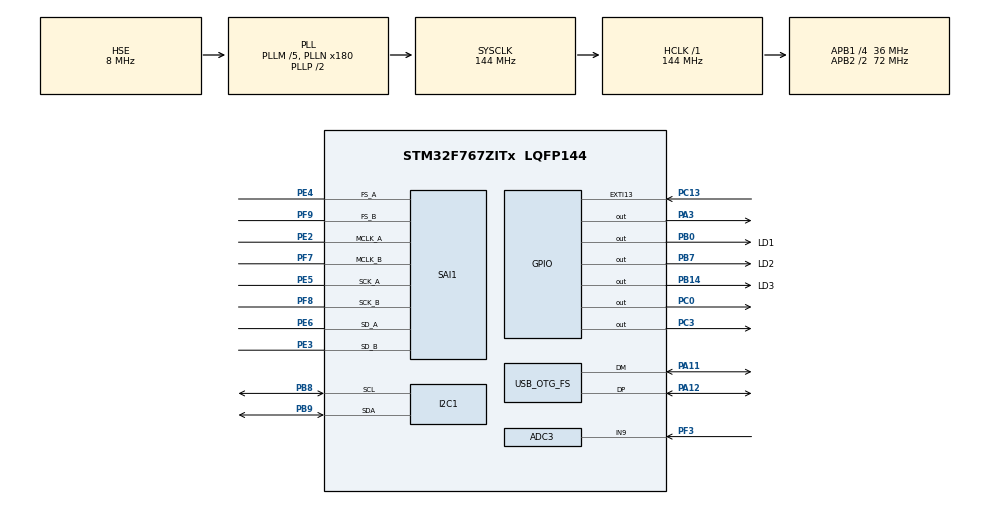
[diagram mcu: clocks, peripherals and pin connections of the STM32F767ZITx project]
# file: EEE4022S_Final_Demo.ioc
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ADC3.Channel-0\#ChannelRegularConversion=ADC_CHANNEL_9
ADC3.ExternalTrigConv=ADC_EXTERNALTRIGCONV_T2_TRGO
ADC3.InjNumberOfConversion=0
ADC3.NbrOfConversionFlag=1
ADC3.Rank-0\#ChannelRegularConversion=1
ADC3.SamplingTime-0\#ChannelRegularConversion=ADC_SAMPLETIME_3CYCLES
CORTEX_M7.default_mode_Activation=1
Dma.ADC3.2.Direction=DMA_PERIPH_TO_MEMORY
Dma.ADC3.2.FIFOMode=DMA_FIFOMODE_DISABLE
Dma.ADC3.2.Instance=DMA2_Stream0
Dma.ADC3.2.MemDataAlignment=DMA_MDATAALIGN_HALFWORD
Dma.ADC3.2.MemInc=DMA_MINC_ENABLE
Dma.ADC3.2.Mode=DMA_NORMAL
Dma.ADC3.2.PeriphDataAlignment=DMA_PDATAALIGN_HALFWORD
Dma.ADC3.2.PeriphInc=DMA_PINC_DISABLE
Dma.ADC3.2.Priority=DMA_PRIORITY_LOW
Dma.Request0=SAI1_A
Dma.Request1=SAI1_B
Dma.Request2=ADC3
Dma.SAI1_A.0.Direction=DMA_PERIPH_TO_MEMORY
Dma.SAI1_A.0.FIFOMode=DMA_FIFOMODE_DISABLE
Dma.SAI1_A.0.Instance=DMA2_Stream1
Dma.SAI1_A.0.MemDataAlignment=DMA_MDATAALIGN_WORD
Dma.SAI1_A.0.MemInc=DMA_MINC_ENABLE
Dma.SAI1_A.0.Mode=DMA_CIRCULAR
Dma.SAI1_A.0.PeriphDataAlignment=DMA_PDATAALIGN_WORD
Dma.SAI1_A.0.PeriphInc=DMA_PINC_DISABLE
Dma.SAI1_A.0.Priority=DMA_PRIORITY_LOW
Dma.SAI1_B.1.Direction=DMA_PERIPH_TO_MEMORY
Dma.SAI1_B.1.FIFOMode=DMA_FIFOMODE_DISABLE
Dma.SAI1_B.1.Instance=DMA2_Stream4
Dma.SAI1_B.1.MemDataAlignment=DMA_MDATAALIGN_WORD
Dma.SAI1_B.1.MemInc=DMA_MINC_ENABLE
Dma.SAI1_B.1.Mode=DMA_CIRCULAR
Dma.SAI1_B.1.PeriphDataAlignment=DMA_PDATAALIGN_WORD
Dma.SAI1_B.1.PeriphInc=DMA_PINC_DISABLE
Dma.SAI1_B.1.Priority=DMA_PRIORITY_LOW
I2C1.Timing=0x00808CD2
Mcu.Family=STM32F7
Mcu.Name=STM32F767ZITx
Mcu.Package=LQFP144
NVIC.ADC_IRQn=true\:0\:0\:false\:false\:true\:true\:true\:true
NVIC.DMA2_Stream0_IRQn=true\:0\:0\:false\:false\:true\:false\:true\:true
NVIC.DMA2_Stream1_IRQn=true\:0\:0\:false\:false\:true\:false\:true\:true
NVIC.DMA2_Stream4_IRQn=true\:0\:0\:false\:false\:true\:false\:true\:true
NVIC.EXTI15_10_IRQn=true\:1\:0\:true\:false\:true\:true\:true\:true
NVIC.OTG_FS_IRQn=true\:2\:0\:true\:false\:true\:false\:true\:true
NVIC.PriorityGroup=NVIC_PRIORITYGROUP_4
PA11.Mode=Device_Only
PA11.Signal=USB_OTG_FS_DM
PA12.Mode=Device_Only
PA12.Signal=USB_OTG_FS_DP
PA3.Signal=GPIO_Output
PB0.GPIO_Label=LD1
PB0.Signal=GPIO_Output
PB14.GPIO_Label=LD3
PB14.Signal=GPIO_Output
PB7.GPIO_Label=LD2
PB7.Signal=GPIO_Output
PB8.Mode=I2C
PB8.Signal=I2C1_SCL
PB9.Mode=I2C
PB9.Signal=I2C1_SDA
PC0.Signal=GPIO_Output
PC13.Signal=GPXTI13
PC14/OSC32_IN.Mode=LSE-External-Oscillator
PC14/OSC32_IN.Signal=RCC_OSC32_IN
PC15/OSC32_OUT.Mode=LSE-External-Oscillator
PC15/OSC32_OUT.Signal=RCC_OSC32_OUT
PC3.Signal=GPIO_Output
PE2.Mode=SAI_A_MasterWithClock
PE2.Signal=SAI1_MCLK_A
PE3.Mode=SAI_B_MasterWithClock
PE3.Signal=SAI1_SD_B
PE4.Mode=SAI_A_MasterWithClock
PE4.Signal=SAI1_FS_A
PE5.Mode=SAI_A_MasterWithClock
PE5.Signal=SAI1_SCK_A
PE6.Mode=SAI_A_MasterWithClock
PE6.Signal=SAI1_SD_A
PF3.Mode=IN9
PF3.Signal=ADC3_IN9
PF7.Mode=SAI_B_MasterWithClock
PF7.Signal=SAI1_MCLK_B
PF8.Mode=SAI_B_MasterWithClock
PF8.Signal=SAI1_SCK_B
PF9.Mode=SAI_B_MasterWithClock
PF9.Signal=SAI1_FS_B
PH0/OSC_IN.Mode=HSE-External-Clock-Source
PH0/OSC_IN.Signal=RCC_OSC_IN
PH1/OSC_OUT.Mode=HSE-External-Clock-Source
PH1/OSC_OUT.Signal=RCC_OSC_OUT
ProjectManager.HeapSize=0x4000
ProjectManager.StackSize=0x2000
ProjectManager.TargetToolchain=STM32CubeIDE
RCC.AHBFreq_Value=144000000
RCC.APB1CLKDivider=RCC_HCLK_DIV4
RCC.APB1Freq_Value=36000000
RCC.APB1TimFreq_Value=72000000
RCC.APB2CLKDivider=RCC_HCLK_DIV2
RCC.APB2Freq_Value=72000000
RCC.APB2TimFreq_Value=144000000
RCC.CortexFreq_Value=144000000
RCC.HCLKFreq_Value=144000000
RCC.HSE_VALUE=8000000
RCC.HSI_VALUE=16000000
RCC.PLLM=5
RCC.PLLN=180
RCC.PLLQ=6
RCC.PLLSAIQ=5
RCC.PLLSAIQDiv=5
RCC.SYSCLKFreq_VALUE=144000000
RCC.SYSCLKSource=RCC_SYSCLKSOURCE_PLLCLK
RCC.USBFreq_Value=48000000
RCC.VCOOutputFreq_Value=288000000
SAI1.AudioFrequency-SAI_A_MasterWithClock=SAI_AUDIO_FREQUENCY_48K
SAI1.AudioFrequency-SAI_B_MasterWithClock=SAI_AUDIO_FREQUENCY_48K
SAI1.AudioMode-SAI_A_MasterWithClock=SAI_MODEMASTER_RX
SAI1.AudioMode-SAI_B_MasterWithClock=SAI_MODEMASTER_RX
SAI1.BasicDataSize-SAI_B_MasterWithClock=SAI_PROTOCOL_DATASIZE_24BIT
SAI1.ClockStrobing-SAI_A_MasterWithClock=SAI_CLOCKSTROBING_RISINGEDGE
SAI1.DataSize-SAI_A_MasterWithClock=SAI_DATASIZE_24
SAI1.ErrorAudioFreq-SAI_A_MasterWithClock=0.0 %
SAI1.ErrorAudioFreq-SAI_B_MasterWithClock=0.0 %
SAI1.FSOffset-SAI_A_MasterWithClock=SAI_FS_BEFOREFIRSTBIT
SAI1.FrameLength-SAI_A_MasterWithClock=128
SAI1.InitProtocol-SAI_B_MasterWithClock=Enable
SAI1.Instance-SAI_A_MasterWithClock=SAI$Index_Block_A
SAI1.Instance-SAI_B_MasterWithClock=SAI$Index_Block_B
SAI1.MClockEnable-SAI_A_MasterWithClock=SAI_MASTERCLOCK_ENABLE
SAI1.MClockEnable-SAI_B_MasterWithClock=SAI_MASTERCLOCK_ENABLE
SAI1.RealAudioFreq-SAI_A_MasterWithClock=48.0 KHz
SAI1.RealAudioFreq-SAI_B_MasterWithClock=48.0 KHz
SAI1.SlotActive-SAI_A_MasterWithClock=0x0000000F
SAI1.SlotNumber-SAI_A_MasterWithClock=4
SAI1.SlotSize-SAI_A_MasterWithClock=SAI_SLOTSIZE_32B
SAI1.VirtualMode-SAI_A_MasterWithClock=VM_MASTER
SAI1.VirtualMode-SAI_B_MasterWithClock=VM_MASTER
SAI1.VirtualProtocol-SAI_B_BASIC=VM_BASIC_PROTOCOL
SAI1.VirtualSlotActive-SAI_A_MasterWithClock=SAI_SLOT_USERSETTING
SAI1.VirtualSlotActive0-SAI_A_MasterWithClock=true
SAI1.VirtualSlotActive1-SAI_A_MasterWithClock=true
SAI1.VirtualSlotActive2-SAI_A_MasterWithClock=true
SAI1.VirtualSlotActive3-SAI_A_MasterWithClock=true
TIM2.Period=1499
TIM2.TIM_MasterOutputTrigger=TIM_TRGO_UPDATE
TIM2.TIM_MasterSlaveMode=TIM_MASTERSLAVEMODE_ENABLE
USB_DEVICE.CLASS_NAME_FS=CDC
USB_DEVICE.VirtualMode-CDC_FS=Cdc
USB_DEVICE.VirtualModeFS=Cdc_FS
USB_OTG_FS.VirtualMode=Device_Only
VP_SAI1_VP_$IpInstance_SAIB_SAI_BASIC.Mode=SAI_B_BASIC
VP_TIM2_VS_ClockSourceINT.Mode=Internal
VP_USB_DEVICE_VS_USB_DEVICE_CDC_FS.Mode=CDC_FS
board=custom

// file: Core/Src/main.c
/* USER CODE BEGIN Header */
/**
  ******************************************************************************
  * @file           : main.c
  * @brief          : Main program body
  ******************************************************************************
  * @attention
  *
  * Copyright (c) 2024 STMicroelectronics.
  * All rights reserved.
  *
  * This software is licensed under terms that can be found in the LICENSE file
  * in the root directory of this software component.
  * If no LICENSE file comes with this software, it is provided AS-IS.
  *
  ******************************************************************************
  */
/* USER CODE END Header */
#include "main.h"
#include "usb_device.h"

/* USER CODE BEGIN Includes */
#include "string.h"
#include "ADAU1978.h"
#include "usbd_cdc_if.h"
/* USER CODE END Includes */

/* USER CODE BEGIN PD */
#define SAMPLE_SIZE      2048
/* USER CODE END PD */

ADC_HandleTypeDef hadc3;
DMA_HandleTypeDef hdma_adc3;

I2C_HandleTypeDef hi2c1;

SAI_HandleTypeDef hsai_BlockA1;
SAI_HandleTypeDef hsai_BlockB1;
DMA_HandleTypeDef hdma_sai1_a;
DMA_HandleTypeDef hdma_sai1_b;

TIM_HandleTypeDef htim2;

/* USER CODE BEGIN PV */
ActiveADC_t adcx;
ADAU1978_t xHandle;
uint8_t start_tx;
uint8_t* pTxBuffer;
HAL_StatusTypeDef xStatus;

char* builtin = "ADC";
char* stereo   = "I2S";
char* tdm      = "TDM";
uint8_t adc_buffer[SAMPLE_SIZE*16];

/* USER CODE END PV */

void SystemClock_Config(void);
void PeriphCommonClock_Config(void);
static void MPU_Config(void);
static void MX_GPIO_Init(void);
static void MX_DMA_Init(void);
static void MX_I2C1_Init(void);
static void MX_SAI1_Init(void);
static void MX_ADC3_Init(void);
static void MX_TIM2_Init(void);
/* USER CODE BEGIN PFP */
void USB_RxCpltCallback(uint8_t* Buf, uint32_t *Len);
void USB_TxCpltCallback(uint8_t *Buf, uint32_t *Len);
void TDM4Init();
/* USER CODE END PFP */

/* USER CODE BEGIN 0 */
void TDM4Init(){
	// Enable all ADCs
	xHandle.block_power_sai = ADC_ENALL;
	// TDM4 Left Justified
	xHandle.sai_ctrl0 = SAI_CTRL0_TDM4|SAI_CTRL0_SDATA_FMT_LJ;
	// 24-bit data on 32 bit SLOT, LRCK pulse
	xHandle.sai_ctrl1  = SAI_CTRL1_DW_24_BITS | SAI_CTRL1_SW_32_BCKS| SAI_CTRL1_LR_MODE_PULSE;
	// enable HPF for all
	xHandle.dc_hpf_cal = DC_HPF_ALL;
	// Enable output for all
	xHandle.sai_overtemp = SAI_DRV_ALL;
	xHandle.gain_db = 40.125;
}
/* USER CODE END 0 */

int main(void)
{

  /* USER CODE BEGIN 1 */
	pTxBuffer = &adc_buffer[0];
	adcx = NONE;
	start_tx = 0;
	Audio_ADC_StructInit(&xHandle);
	TDM4Init();
  /* USER CODE END 1 */

  /* MPU Configuration--------------------------------------------------------*/
  MPU_Config();

  /* MCU Configuration--------------------------------------------------------*/

  /* Reset of all peripherals, Initializes the Flash interface and the Systick. */
  HAL_Init();

  /* Configure the system clock */
  SystemClock_Config();

  /* Configure the peripherals common clocks */
  PeriphCommonClock_Config();

  /* Initialize all configured peripherals */
  MX_GPIO_Init();
  MX_DMA_Init();
  MX_I2C1_Init();
  MX_SAI1_Init();
  MX_USB_DEVICE_Init();
  MX_ADC3_Init();
  MX_TIM2_Init();
  /* USER CODE BEGIN 2 */
    xStatus = Audio_ADC_Calibrate();
    if (xStatus != HAL_OK){
  	  //Error_Handler();
    }
    xStatus = Audio_ADC_Init(&xHandle);
    if (xStatus != HAL_OK){
  	  Error_Handler();
    }
  /* USER CODE END 2 */

  /* Infinite loop */
  while (1)
  {

    /* USER CODE BEGIN 3 */
	  HAL_Delay(100);
  }
  /* USER CODE END 3 */
}

void SystemClock_Config(void)
{
  RCC_OscInitTypeDef RCC_OscInitStruct = {0};
  RCC_ClkInitTypeDef RCC_ClkInitStruct = {0};

  /** Configure LSE Drive Capability
  */
  HAL_PWR_EnableBkUpAccess();

  /** Configure the main internal regulator output voltage
  */
  __HAL_RCC_PWR_CLK_ENABLE();
  __HAL_PWR_VOLTAGESCALING_CONFIG(PWR_REGULATOR_VOLTAGE_SCALE3);

  /** Initializes the RCC Oscillators according to the specified parameters
  * in the RCC_OscInitTypeDef structure.
  */
  RCC_OscInitStruct.OscillatorType = RCC_OSCILLATORTYPE_HSE;
  RCC_OscInitStruct.HSEState = RCC_HSE_BYPASS;
  RCC_OscInitStruct.PLL.PLLState = RCC_PLL_ON;
  RCC_OscInitStruct.PLL.PLLSource = RCC_PLLSOURCE_HSE;
  RCC_OscInitStruct.PLL.PLLM = 5;
  RCC_OscInitStruct.PLL.PLLN = 180;
  RCC_OscInitStruct.PLL.PLLP = RCC_PLLP_DIV2;
  RCC_OscInitStruct.PLL.PLLQ = 6;
  RCC_OscInitStruct.PLL.PLLR = 2;
  if (HAL_RCC_OscConfig(&RCC_OscInitStruct) != HAL_OK)
  {
    Error_Handler();
  }

  /** Initializes the CPU, AHB and APB buses clocks
  */
  RCC_ClkInitStruct.ClockType = RCC_CLOCKTYPE_HCLK|RCC_CLOCKTYPE_SYSCLK
                              |RCC_CLOCKTYPE_PCLK1|RCC_CLOCKTYPE_PCLK2;
  RCC_ClkInitStruct.SYSCLKSource = RCC_SYSCLKSOURCE_PLLCLK;
  RCC_ClkInitStruct.AHBCLKDivider = RCC_SYSCLK_DIV1;
  RCC_ClkInitStruct.APB1CLKDivider = RCC_HCLK_DIV4;
  RCC_ClkInitStruct.APB2CLKDivider = RCC_HCLK_DIV2;

  if (HAL_RCC_ClockConfig(&RCC_ClkInitStruct, FLASH_LATENCY_4) != HAL_OK)
  {
    Error_Handler();
  }
}

void PeriphCommonClock_Config(void)
{
  RCC_PeriphCLKInitTypeDef PeriphClkInitStruct = {0};

  /** Initializes the peripherals clock
  */
  PeriphClkInitStruct.PeriphClockSelection = RCC_PERIPHCLK_SAI1|RCC_PERIPHCLK_CLK48;
  PeriphClkInitStruct.PLLSAI.PLLSAIN = 192;
  PeriphClkInitStruct.PLLSAI.PLLSAIR = 2;
  PeriphClkInitStruct.PLLSAI.PLLSAIQ = 5;
  PeriphClkInitStruct.PLLSAI.PLLSAIP = RCC_PLLSAIP_DIV2;
  PeriphClkInitStruct.PLLSAIDivQ = 5;
  PeriphClkInitStruct.PLLSAIDivR = RCC_PLLSAIDIVR_2;
  PeriphClkInitStruct.Sai1ClockSelection = RCC_SAI1CLKSOURCE_PLLSAI;
  if (HAL_RCCEx_PeriphCLKConfig(&PeriphClkInitStruct) != HAL_OK)
  {
    Error_Handler();
  }
}

static void MX_ADC3_Init(void)
{

  ADC_ChannelConfTypeDef sConfig = {0};

  /** Configure the global features of the ADC (Clock, Resolution, Data Alignment and number of conversion)
  */
  hadc3.Instance = ADC3;
  hadc3.Init.ClockPrescaler = ADC_CLOCK_SYNC_PCLK_DIV2;
  hadc3.Init.Resolution = ADC_RESOLUTION_12B;
  hadc3.Init.ScanConvMode = ADC_SCAN_DISABLE;
  hadc3.Init.ContinuousConvMode = DISABLE;
  hadc3.Init.DiscontinuousConvMode = DISABLE;
  hadc3.Init.ExternalTrigConvEdge = ADC_EXTERNALTRIGCONVEDGE_RISING;
  hadc3.Init.ExternalTrigConv = ADC_EXTERNALTRIGCONV_T2_TRGO;
  hadc3.Init.DataAlign = ADC_DATAALIGN_RIGHT;
  hadc3.Init.NbrOfConversion = 1;
  hadc3.Init.DMAContinuousRequests = DISABLE;
  hadc3.Init.EOCSelection = ADC_EOC_SINGLE_CONV;
  if (HAL_ADC_Init(&hadc3) != HAL_OK)
  {
    Error_Handler();
  }

  /** Configure for the selected ADC regular channel its corresponding rank in the sequencer and its sample time.
  */
  sConfig.Channel = ADC_CHANNEL_9;
  sConfig.Rank = ADC_REGULAR_RANK_1;
  sConfig.SamplingTime = ADC_SAMPLETIME_3CYCLES;
  if (HAL_ADC_ConfigChannel(&hadc3, &sConfig) != HAL_OK)
  {
    Error_Handler();
  }

}

static void MX_I2C1_Init(void)
{

  hi2c1.Instance = I2C1;
  hi2c1.Init.Timing = 0x00808CD2;
  hi2c1.Init.OwnAddress1 = 0;
  hi2c1.Init.AddressingMode = I2C_ADDRESSINGMODE_7BIT;
  hi2c1.Init.DualAddressMode = I2C_DUALADDRESS_DISABLE;
  hi2c1.Init.OwnAddress2 = 0;
  hi2c1.Init.OwnAddress2Masks = I2C_OA2_NOMASK;
  hi2c1.Init.GeneralCallMode = I2C_GENERALCALL_DISABLE;
  hi2c1.Init.NoStretchMode = I2C_NOSTRETCH_DISABLE;
  if (HAL_I2C_Init(&hi2c1) != HAL_OK)
  {
    Error_Handler();
  }

  /** Configure Analogue filter
  */
  if (HAL_I2CEx_ConfigAnalogFilter(&hi2c1, I2C_ANALOGFILTER_ENABLE) != HAL_OK)
  {
    Error_Handler();
  }

  /** Configure Digital filter
  */
  if (HAL_I2CEx_ConfigDigitalFilter(&hi2c1, 0) != HAL_OK)
  {
    Error_Handler();
  }

}

static void MX_SAI1_Init(void)
{

  hsai_BlockA1.Instance = SAI1_Block_A;
  hsai_BlockA1.Init.Protocol = SAI_FREE_PROTOCOL;
  hsai_BlockA1.Init.AudioMode = SAI_MODEMASTER_RX;
  hsai_BlockA1.Init.DataSize = SAI_DATASIZE_24;
  hsai_BlockA1.Init.FirstBit = SAI_FIRSTBIT_MSB;
  hsai_BlockA1.Init.ClockStrobing = SAI_CLOCKSTROBING_RISINGEDGE;
  hsai_BlockA1.Init.Synchro = SAI_ASYNCHRONOUS;
  hsai_BlockA1.Init.OutputDrive = SAI_OUTPUTDRIVE_DISABLE;
  hsai_BlockA1.Init.NoDivider = SAI_MASTERDIVIDER_ENABLE;
  hsai_BlockA1.Init.FIFOThreshold = SAI_FIFOTHRESHOLD_EMPTY;
  hsai_BlockA1.Init.AudioFrequency = SAI_AUDIO_FREQUENCY_48K;
  hsai_BlockA1.Init.SynchroExt = SAI_SYNCEXT_DISABLE;
  hsai_BlockA1.Init.MonoStereoMode = SAI_STEREOMODE;
  hsai_BlockA1.Init.CompandingMode = SAI_NOCOMPANDING;
  hsai_BlockA1.FrameInit.FrameLength = 128;
  hsai_BlockA1.FrameInit.ActiveFrameLength = 1;
  hsai_BlockA1.FrameInit.FSDefinition = SAI_FS_STARTFRAME;
  hsai_BlockA1.FrameInit.FSPolarity = SAI_FS_ACTIVE_LOW;
  hsai_BlockA1.FrameInit.FSOffset = SAI_FS_BEFOREFIRSTBIT;
  hsai_BlockA1.SlotInit.FirstBitOffset = 0;
  hsai_BlockA1.SlotInit.SlotSize = SAI_SLOTSIZE_32B;
  hsai_BlockA1.SlotInit.SlotNumber = 4;
  hsai_BlockA1.SlotInit.SlotActive = 0x0000000F;
  if (HAL_SAI_Init(&hsai_BlockA1) != HAL_OK)
  {
    Error_Handler();
  }
  hsai_BlockB1.Instance = SAI1_Block_B;
  hsai_BlockB1.Init.AudioMode = SAI_MODEMASTER_RX;
  hsai_BlockB1.Init.Synchro = SAI_ASYNCHRONOUS;
  hsai_BlockB1.Init.OutputDrive = SAI_OUTPUTDRIVE_DISABLE;
  hsai_BlockB1.Init.NoDivider = SAI_MASTERDIVIDER_ENABLE;
  hsai_BlockB1.Init.FIFOThreshold = SAI_FIFOTHRESHOLD_EMPTY;
  hsai_BlockB1.Init.AudioFrequency = SAI_AUDIO_FREQUENCY_48K;
  hsai_BlockB1.Init.SynchroExt = SAI_SYNCEXT_DISABLE;
  hsai_BlockB1.Init.MonoStereoMode = SAI_STEREOMODE;
  hsai_BlockB1.Init.CompandingMode = SAI_NOCOMPANDING;
  if (HAL_SAI_InitProtocol(&hsai_BlockB1, SAI_I2S_STANDARD, SAI_PROTOCOL_DATASIZE_24BIT, 2) != HAL_OK)
  {
    Error_Handler();
  }

}

static void MX_TIM2_Init(void)
{

  TIM_ClockConfigTypeDef sClockSourceConfig = {0};
  TIM_MasterConfigTypeDef sMasterConfig = {0};

  htim2.Instance = TIM2;
  htim2.Init.Prescaler = 0;
  htim2.Init.CounterMode = TIM_COUNTERMODE_UP;
  htim2.Init.Period = 1499;
  htim2.Init.ClockDivision = TIM_CLOCKDIVISION_DIV1;
  htim2.Init.AutoReloadPreload = TIM_AUTORELOAD_PRELOAD_DISABLE;
  if (HAL_TIM_Base_Init(&htim2) != HAL_OK)
  {
    Error_Handler();
  }
  sClockSourceConfig.ClockSource = TIM_CLOCKSOURCE_INTERNAL;
  if (HAL_TIM_ConfigClockSource(&htim2, &sClockSourceConfig) != HAL_OK)
  {
    Error_Handler();
  }
  sMasterConfig.MasterOutputTrigger = TIM_TRGO_UPDATE;
  sMasterConfig.MasterSlaveMode = TIM_MASTERSLAVEMODE_ENABLE;
  if (HAL_TIMEx_MasterConfigSynchronization(&htim2, &sMasterConfig) != HAL_OK)
  {
    Error_Handler();
  }

}

static void MX_DMA_Init(void)
{

  /* DMA controller clock enable */
  __HAL_RCC_DMA2_CLK_ENABLE();

  /* DMA interrupt init */
  /* DMA2_Stream0_IRQn interrupt configuration */
  HAL_NVIC_SetPriority(DMA2_Stream0_IRQn, 0, 0);
  HAL_NVIC_EnableIRQ(DMA2_Stream0_IRQn);
  /* DMA2_Stream1_IRQn interrupt configuration */
  HAL_NVIC_SetPriority(DMA2_Stream1_IRQn, 0, 0);
  HAL_NVIC_EnableIRQ(DMA2_Stream1_IRQn);
  /* DMA2_Stream4_IRQn interrupt configuration */
  HAL_NVIC_SetPriority(DMA2_Stream4_IRQn, 0, 0);
  HAL_NVIC_EnableIRQ(DMA2_Stream4_IRQn);

}

static void MX_GPIO_Init(void)
{
  GPIO_InitTypeDef GPIO_InitStruct = {0};

  /* GPIO Ports Clock Enable */
  __HAL_RCC_GPIOE_CLK_ENABLE();
  __HAL_RCC_GPIOC_CLK_ENABLE();
  __HAL_RCC_GPIOF_CLK_ENABLE();
  __HAL_RCC_GPIOH_CLK_ENABLE();
  __HAL_RCC_GPIOA_CLK_ENABLE();
  __HAL_RCC_GPIOB_CLK_ENABLE();

  /*Configure GPIO pin Output Level */
  HAL_GPIO_WritePin(GPIOC, GPIO_PIN_0|GPIO_PIN_3, GPIO_PIN_RESET);

  /*Configure GPIO pin Output Level */
  HAL_GPIO_WritePin(GPIOA, GPIO_PIN_3, GPIO_PIN_RESET);

  /*Configure GPIO pin Output Level */
  HAL_GPIO_WritePin(GPIOB, LD1_Pin|LD3_Pin|LD2_Pin, GPIO_PIN_RESET);

  /*Configure GPIO pin : PC13 */
  GPIO_InitStruct.Pin = GPIO_PIN_13;
  GPIO_InitStruct.Mode = GPIO_MODE_IT_RISING;
  GPIO_InitStruct.Pull = GPIO_NOPULL;
  HAL_GPIO_Init(GPIOC, &GPIO_InitStruct);

  /*Configure GPIO pins : PC0 PC3 */
  GPIO_InitStruct.Pin = GPIO_PIN_0|GPIO_PIN_3;
  GPIO_InitStruct.Mode = GPIO_MODE_OUTPUT_PP;
  GPIO_InitStruct.Pull = GPIO_NOPULL;
  GPIO_InitStruct.Speed = GPIO_SPEED_FREQ_LOW;
  HAL_GPIO_Init(GPIOC, &GPIO_InitStruct);

  /*Configure GPIO pin : PA3 */
  GPIO_InitStruct.Pin = GPIO_PIN_3;
  GPIO_InitStruct.Mode = GPIO_MODE_OUTPUT_PP;
  GPIO_InitStruct.Pull = GPIO_NOPULL;
  GPIO_InitStruct.Speed = GPIO_SPEED_FREQ_LOW;
  HAL_GPIO_Init(GPIOA, &GPIO_InitStruct);

  /*Configure GPIO pins : LD1_Pin LD3_Pin LD2_Pin */
  GPIO_InitStruct.Pin = LD1_Pin|LD3_Pin|LD2_Pin;
  GPIO_InitStruct.Mode = GPIO_MODE_OUTPUT_PP;
  GPIO_InitStruct.Pull = GPIO_NOPULL;
  GPIO_InitStruct.Speed = GPIO_SPEED_FREQ_LOW;
  HAL_GPIO_Init(GPIOB, &GPIO_InitStruct);

  /* EXTI interrupt init*/
  HAL_NVIC_SetPriority(EXTI15_10_IRQn, 1, 0);
  HAL_NVIC_EnableIRQ(EXTI15_10_IRQn);

}

/* USER CODE BEGIN 4 */
void HAL_GPIO_EXTI_Callback(uint16_t GPIO_Pin){
	if (GPIO_Pin == GPIO_PIN_13){
		start_tx = 1;
	}
}
void HAL_SAI_RxCpltCallback(SAI_HandleTypeDef *hsai){
	pTxBuffer = &adc_buffer[0];
	if (hsai ==  &hsai_BlockB1){
		// PCM1808 Active
		if ((start_tx == 1) && (adcx == PCM1808)){
			start_tx = 0;
			HAL_SAI_DMAStop(hsai);
			CDC_Transmit_FS(pTxBuffer, SAMPLE_SIZE*8);
		}
	}
	else if (hsai ==  &hsai_BlockA1){
		// ADA1978 ACTIVE
		if ((start_tx == 1) && (adcx == ADAU1978)){
			start_tx = 0;
			HAL_SAI_DMAStop(hsai);
			CDC_Transmit_FS(pTxBuffer, SAMPLE_SIZE*16);
		}
	}
}
void HAL_ADC_ConvCpltCallback(ADC_HandleTypeDef* hadc){
	pTxBuffer = &adc_buffer[0];
	if ((start_tx == 1) && (adcx == BUILTIN)){
		start_tx = 0;
		HAL_ADC_Stop_DMA(hadc);
		HAL_TIM_Base_Stop(&htim2);
		CDC_Transmit_FS(pTxBuffer, SAMPLE_SIZE*2);
	}
	else {
		HAL_ADC_Stop_DMA(hadc);
		HAL_TIM_Base_Stop(&htim2);
		HAL_ADC_Start_DMA(hadc,(uint32_t*)pTxBuffer, SAMPLE_SIZE*2);
		HAL_TIM_Base_Start(&htim2);
	}
}
void USB_RxCpltCallback(uint8_t* Buf, uint32_t *Len){
	pTxBuffer = &adc_buffer[0];
	if (strcmp(builtin, (char*)Buf) == 0){
		adcx = BUILTIN;
		HAL_GPIO_WritePin(LD1_GPIO_Port, LD1_Pin, GPIO_PIN_SET);
		HAL_ADC_Start_DMA(&hadc3, (uint32_t*)pTxBuffer, SAMPLE_SIZE*2);
		HAL_TIM_Base_Start(&htim2);
	}
	else if(strcmp(stereo, (char*)Buf) == 0){
		adcx = PCM1808;
		HAL_GPIO_WritePin(LD2_GPIO_Port, LD2_Pin, GPIO_PIN_SET);
		HAL_SAI_Receive_DMA(&hsai_BlockB1, pTxBuffer, SAMPLE_SIZE*2);
	}
	else if(strcmp(tdm, (char*)Buf) == 0){
		adcx = ADAU1978;
		HAL_GPIO_WritePin(LD3_GPIO_Port, LD3_Pin, GPIO_PIN_SET);
		HAL_SAI_Receive_DMA(&hsai_BlockA1, pTxBuffer, SAMPLE_SIZE*4);
	}
	else {
		adcx = NONE;
		HAL_GPIO_WritePin(LD1_GPIO_Port, LD1_Pin, GPIO_PIN_RESET);
		HAL_GPIO_WritePin(LD2_GPIO_Port, LD2_Pin, GPIO_PIN_RESET);
		HAL_GPIO_WritePin(LD3_GPIO_Port, LD3_Pin, GPIO_PIN_RESET);
	}
}
void USB_TxCpltCallback(uint8_t *Buf, uint32_t *Len){
	if (adcx == BUILTIN){
		HAL_GPIO_WritePin(LD1_GPIO_Port, LD1_Pin, GPIO_PIN_RESET);
		adcx = NONE;
	}
	else if (adcx == PCM1808){
		HAL_GPIO_WritePin(LD2_GPIO_Port, LD2_Pin, GPIO_PIN_RESET);
		adcx = NONE;
	}
	else if (adcx == ADAU1978){
		HAL_GPIO_WritePin(LD3_GPIO_Port, LD3_Pin, GPIO_PIN_RESET);
		adcx = NONE;
	}
}
/* USER CODE END 4 */

 /* MPU Configuration */

void MPU_Config(void)
{
  MPU_Region_InitTypeDef MPU_InitStruct = {0};

  /* Disables the MPU */
  HAL_MPU_Disable();

  /** Initializes and configures the Region and the memory to be protected
  */
  MPU_InitStruct.Enable = MPU_REGION_ENABLE;
  MPU_InitStruct.Number = MPU_REGION_NUMBER0;
  MPU_InitStruct.BaseAddress = 0x0;
  MPU_InitStruct.Size = MPU_REGION_SIZE_4GB;
  MPU_InitStruct.SubRegionDisable = 0x87;
  MPU_InitStruct.TypeExtField = MPU_TEX_LEVEL0;
  MPU_InitStruct.AccessPermission = MPU_REGION_NO_ACCESS;
  MPU_InitStruct.DisableExec = MPU_INSTRUCTION_ACCESS_DISABLE;
  MPU_InitStruct.IsShareable = MPU_ACCESS_SHAREABLE;
  MPU_InitStruct.IsCacheable = MPU_ACCESS_NOT_CACHEABLE;
  MPU_InitStruct.IsBufferable = MPU_ACCESS_NOT_BUFFERABLE;

  HAL_MPU_ConfigRegion(&MPU_InitStruct);
  /* Enables the MPU */
  HAL_MPU_Enable(MPU_PRIVILEGED_DEFAULT);

}

void Error_Handler(void)
{
  __disable_irq();
  while (1)
  {
  }
}
